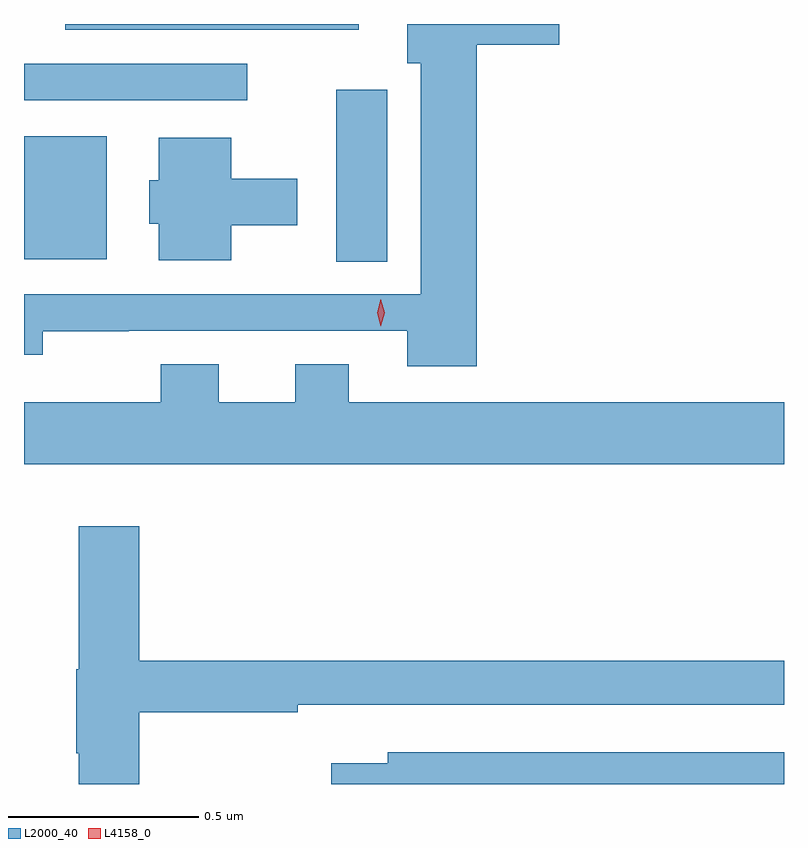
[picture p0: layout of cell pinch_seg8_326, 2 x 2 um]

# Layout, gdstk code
import gdstk
lib = gdstk.Library(unit=1e-6, precision=1e-09)
def R(c, l, rs):  # rectangles x0, y0, x1, y1
    for r in rs: c.add(gdstk.rectangle(r[:2], r[2:], *l))
def P(c, l, *ps):  # polygons
    for p in ps: c.add(gdstk.Polygon(p, *l))
L2000_40 = (2000, 40)
L4158_0 = (4158, 0)

pinch_seg8_326 = lib.new_cell('pinch_seg8_326')
R(pinch_seg8_326, L2000_40, [(591.59,1127.689,591.724,1128.142), (590.768,1127.696,590.986,1128.019), (590.768,1128.114,591.355,1128.21), (590.877,1128.3,591.649,1128.315)])
P(pinch_seg8_326, L2000_40, [(591.959,1128.26),(592.177,1128.26),(592.177,1128.315),(591.776,1128.315),(591.776,1128.212),(591.812,1128.212),(591.812,1127.604),(590.768,1127.604),(590.768,1127.445),(590.817,1127.445),(590.817,1127.507),(591.044,1127.507),(591.044,1127.508),(591.776,1127.508),(591.776,1127.414),(591.959,1127.414)],
  [(591.313,1127.786),(591.487,1127.786),(591.487,1127.908),(591.313,1127.908),(591.313,1128.016),(591.122,1128.016),(591.122,1127.904),(591.098,1127.904),(591.098,1127.79),(591.122,1127.79),(591.122,1127.693),(591.313,1127.693)],
  [(592.768,1127.32),(591.622,1127.32),(591.622,1127.419),(591.482,1127.419),(591.482,1127.32),(591.28,1127.32),(591.28,1127.419),(591.128,1127.419),(591.128,1127.32),(590.768,1127.32),(590.768,1127.156),(592.768,1127.156)],
  [(591.071,1126.504),(591.488,1126.504),(591.488,1126.524),(592.768,1126.524),(592.768,1126.64),(591.071,1126.64),(591.071,1126.993),(590.912,1126.993),(590.912,1126.617),(590.905,1126.617),(590.905,1126.396),(590.912,1126.396),(590.912,1126.315),(591.071,1126.315)],
  [(592.768,1126.398),(591.725,1126.398),(591.725,1126.369),(591.576,1126.369),(591.576,1126.315),(592.768,1126.315)])
P(pinch_seg8_326, L4158_0, [(591.707,1127.519),(591.707,1127.519),(591.697,1127.555),(591.707,1127.591),(591.707,1127.591),(591.707,1127.591),(591.717,1127.555),(591.707,1127.519)])

lib.write_gds('pinch_seg8_326.gds')
